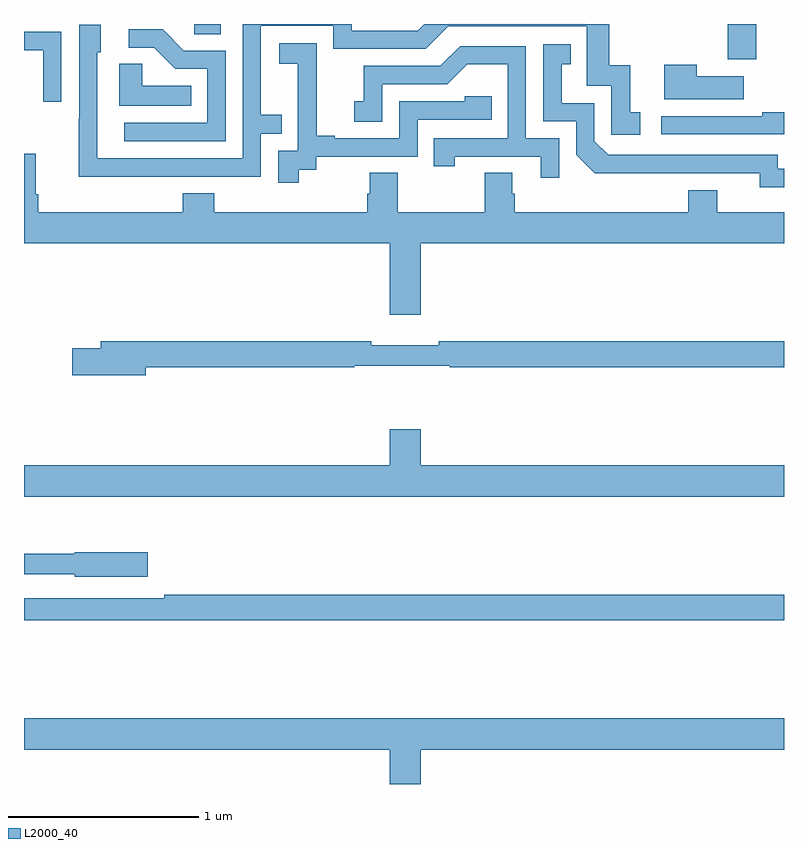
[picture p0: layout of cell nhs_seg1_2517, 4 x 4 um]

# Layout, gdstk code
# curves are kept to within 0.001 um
import gdstk
lib = gdstk.Library(unit=1e-6, precision=1e-09)
def R(c, l, rs):  # rectangles x0, y0, x1, y1
    for r in rs: c.add(gdstk.rectangle(r[:2], r[2:], *l))
def P(c, l, *ps):  # polygons
    for p in ps: c.add(gdstk.Polygon(p, *l))
L2000_40 = (2000, 40)

nhs_seg1_2517 = lib.new_cell('nhs_seg1_2517')
R(nhs_seg1_2517, L2000_40, [(250.703,574.014,250.855,574.199), (247.896,574.144,248.035,574.199)])
P(nhs_seg1_2517, L2000_40, [(247.751,573.396),(248.247,573.396),(248.247,573.621),(248.357,573.621),(248.357,573.722),(248.247,573.722),(248.247,574.191),(248.628,574.191),(248.628,574.068),(249.114,574.068),(249.234,574.188),(249.963,574.188),(249.963,573.873),(250.092,573.873),(250.092,573.615),(250.243,573.615),(250.243,573.735),(250.19,573.735),(250.19,573.982),(250.079,573.982),(250.079,574.199),(249.107,574.199),(249.072,574.164),(248.725,574.164),(248.725,574.199),(248.151,574.199),(248.151,573.492),(247.386,573.492),(247.386,574.05),(247.405,574.05),(247.405,574.195),(247.29,574.195),(247.29,573.701),(247.288,573.701),(247.288,573.395)],
  [(248.061,574.059),(247.842,574.059),(247.729,574.172),(247.551,574.172),(247.551,574.074),(247.685,574.074),(247.796,573.963),(247.965,573.963),(247.965,573.678),(247.527,573.678),(247.527,573.582),(248.061,573.582)],
  [(247.197,574.158),(247,574.158),(247,574.062),(247.101,574.062),(247.101,573.789),(247.197,573.789)],
  [(248.446,573.433),(248.538,573.433),(248.538,573.501),(249.072,573.501),(249.072,573.696),(249.461,573.696),(249.461,573.819),(249.321,573.819),(249.321,573.792),(248.976,573.792),(248.976,573.597),(248.635,573.597),(248.635,573.61),(248.54,573.61),(248.54,573.893),(248.541,573.893),(248.541,574.099),(248.343,574.099),(248.343,573.989),(248.441,573.989),(248.441,573.761),(248.442,573.761),(248.442,573.531),(248.337,573.531),(248.337,573.363),(248.446,573.363)],
  [(251,573.438),(250.968,573.438),(250.968,573.51),(250.074,573.51),(250.002,573.582),(250.002,573.783),(249.829,573.783),(249.829,573.987),(249.878,573.987),(249.878,574.093),(249.732,574.093),(249.732,573.687),(249.906,573.687),(249.906,573.51),(250.004,573.413),(250.872,573.414),(250.872,573.341),(251,573.341)],
  [(249.816,573.597),(249.642,573.597),(249.642,574.083),(249.296,574.083),(249.191,573.978),(248.788,573.978),(248.788,573.793),(248.739,573.793),(248.739,573.684),(248.886,573.684),(248.886,573.882),(249.228,573.882),(249.332,573.986),(249.546,573.986),(249.546,573.597),(249.157,573.597),(249.157,573.45),(249.268,573.45),(249.268,573.501),(249.719,573.501),(249.719,573.39),(249.816,573.39)],
  [(247.88,573.874),(247.623,573.874),(247.623,573.989),(247.502,573.989),(247.502,573.77),(247.88,573.77)],
  [(250.789,573.925),(250.541,573.925),(250.541,573.985),(250.37,573.985),(250.37,573.803),(250.789,573.803)],
  [(251,573.734),(250.885,573.734),(250.885,573.714),(250.353,573.714),(250.353,573.618),(251,573.618)],
  [(249.088,573.044),(251,573.044),(251,573.208),(250.648,573.208),(250.648,573.325),(250.496,573.325),(250.496,573.208),(249.584,573.208),(249.584,573.306),(249.571,573.306),(249.571,573.416),(249.424,573.416),(249.424,573.208),(248.967,573.208),(248.967,573.416),(248.819,573.416),(248.819,573.306),(248.807,573.306),(248.807,573.208),(248,573.208),(248,573.307),(247.835,573.307),(247.835,573.208),(247.076,573.208),(247.076,573.304),(247.063,573.304),(247.063,573.517),(247,573.517),(247,573.044),(248.924,573.044),(248.924,572.67),(249.088,572.67)],
  [(247.642,572.392),(248.738,572.392),(248.738,572.4),(249.24,572.4),(249.24,572.392),(251,572.392),(251,572.528),(249.184,572.528),(249.184,572.509),(248.828,572.509),(248.828,572.528),(247.403,572.528),(247.403,572.492),(247.254,572.492),(247.254,572.35),(247.642,572.35)],
  [(251,571.876),(249.088,571.876),(249.088,572.065),(248.924,572.065),(248.924,571.876),(247,571.876),(247,571.712),(251,571.712)],
  [(247.651,571.419),(247.266,571.419),(247.266,571.411),(247,571.411),(247,571.302),(247.266,571.302),(247.266,571.289),(247.651,571.289)],
  [(251,571.196),(247.738,571.196),(247.738,571.176),(247,571.176),(247,571.06),(251,571.06)],
  [(249.088,570.38),(251,570.38),(251,570.544),(247,570.544),(247,570.38),(248.924,570.38),(248.924,570.199),(249.088,570.199)])

lib.write_gds('nhs_seg1_2517.gds')
